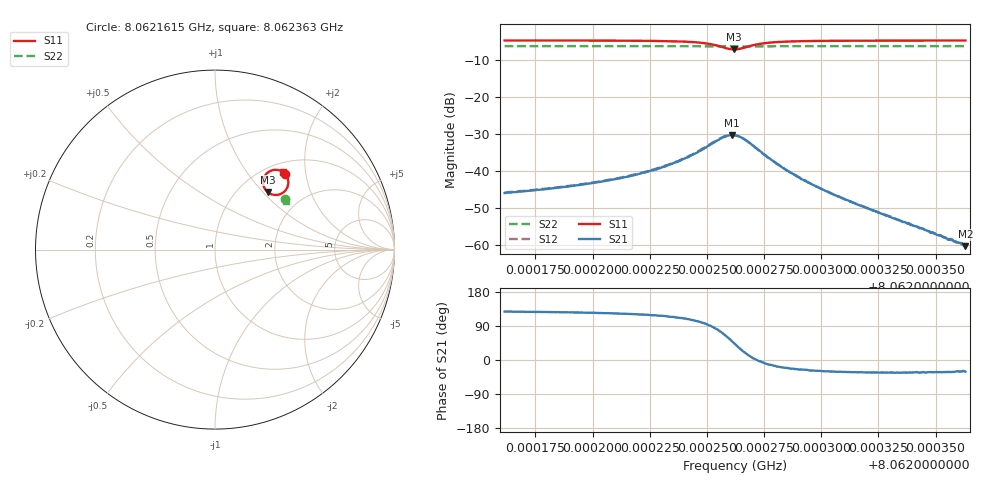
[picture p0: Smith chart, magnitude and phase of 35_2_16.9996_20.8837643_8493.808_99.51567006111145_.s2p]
#  HZ  S  RI  R  50.00
! Rohde & Schwarz Vector Network Analyzer
! Rohde-Schwarz,ZNB20-2Port,1311601062101988,3.16
! Created: UTC 3/20/2024, 10:53:39 PM
! freq[Hz]  re:S11  im:S11  re:S21  im:S21  re:S12  im:S12  re:S22  im:S22
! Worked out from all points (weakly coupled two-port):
!   401 points, 8.0621615 GHz to 8.062363 GHz, reference 50 ohm
!   highest |S21| = -30.36 dB at 8.0622608 GHz (marker M1); lowest = -60.4 dB at 8.062363 GHz (marker M2)
!   lowest |S11| = -7.2 dB at 8.0622618 GHz (marker M3), VSWR 2.54, Z = 67.2 + j53.2 ohm
!   |S11| at or under -10 dB: nowhere
!   |S22| runs from -6.5 to -6.3 dB; largest |S21 - S12| = 0.0027
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8.06216152e9  0.3893 0.4233  -0.00307 0.00395  -0.00287 0.00419  0.3912 0.2814
8.06218217e9  0.3928 0.4193  -0.00344 0.00466  -0.00319 0.00492  0.3917 0.2803
8.06219527e9  0.3955 0.4158  -0.00374 0.00533  -0.00347 0.00563  0.3924 0.2796
8.0622119e9  0.3996 0.4091  -0.00425 0.00667  -0.00394 0.00706  0.3929 0.2785
8.06222197e9  0.403 0.4022  -0.00476 0.0082  -0.00421 0.00848  0.3931 0.2776
8.06222902e9  0.4055 0.3952  -0.0048 0.00957  -0.0043 0.0101  0.3935 0.277
8.06223809e9  0.4084 0.3803  -0.00489 0.0126  -0.00417 0.0133  0.3936 0.2759
8.06224414e9  0.4077 0.3636  -0.00429 0.0162  -0.00319 0.0166  0.3933 0.2748
8.06225018e9  0.3981 0.3376  -0.0014 0.0214  0.000147 0.0218  0.3928 0.2737
8.06225673e9  0.3543 0.306  0.00896 0.0264  0.0112 0.0261  0.3907 0.2729
8.06226076e9  0.3044 0.3129  0.0192 0.0235  0.0213 0.0219  0.3889 0.2737
8.06226177e9  0.2928 0.321  0.0214 0.0215  0.0232 0.0196  0.3888 0.2742
8.06226228e9  0.2875 0.3261  0.0223 0.0202  0.024 0.0182  0.3887 0.2746
8.06226429e9  0.2727 0.3491  0.0248 0.0147  0.026 0.0127  0.3885 0.2756
8.06226681e9  0.2681 0.3797  0.0249 0.00811  0.0253 0.00624  0.3889 0.2766
8.06227386e9  0.2951 0.4299  0.0178 -0.00159  0.0175 -0.00284  0.3909 0.278
8.06228394e9  0.3303 0.4444  0.00998 -0.00369  0.0097 -0.00429  0.3929 0.2775
8.06229049e9  0.3432 0.4445  0.00729 -0.00346  0.00706 -0.00384  0.3935 0.2771
8.06229603e9  0.3508 0.4436  0.00578 -0.00304  0.00562 -0.0034  0.3939 0.2767
8.06230963e9  0.3624 0.4405  0.0036 -0.00219  0.00349 -0.0024  0.3949 0.2758
8.06232978e9  0.3715 0.4365  0.002 -0.00132  0.00193 -0.00144  0.3958 0.2745
8.06236304e9  0.3792 0.432  0.000825 -0.000489  0.000813 -0.000534  0.397 0.2727
